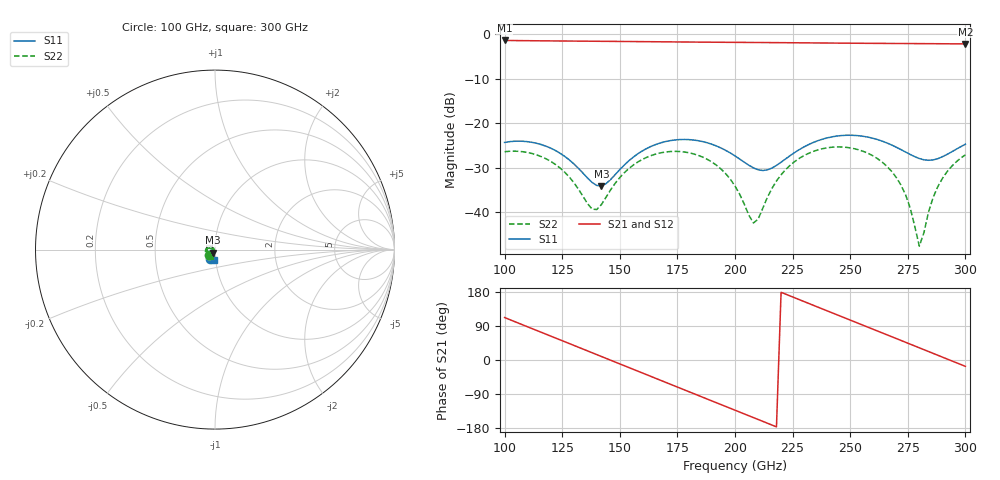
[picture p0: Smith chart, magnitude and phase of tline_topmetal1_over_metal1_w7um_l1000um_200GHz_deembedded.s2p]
! Created with skrf 2.0.1 (http://scikit-rf.org).
# GHz S DB R 50.0
!freq dBS11 angS11 dBS21 angS21 dBS12 angS12 dBS22 angS22
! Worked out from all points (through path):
!   101 points, 100 GHz to 300 GHz, reference 50 ohm
!   highest |S21| = -1.36 dB at 100 GHz (marker M1); lowest = -2.1 dB at 300 GHz (marker M2)
!   group delay of S21, straight-line fit = 6.79 ps
!   lowest |S11| = -34.1 dB at 142 GHz (marker M3), VSWR 1.04, Z = 48.9 - j1.58 ohm
!   |S11| at or under -10 dB: start of sweep to end of sweep
!   |S22| runs from -47.7 to -25.3 dB; largest |S21 - S12| = 9.8e-14
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100  -24.33 -116.5  -1.36 112.0  -1.36 112.0  -26.42 -138.7
116  -24.82 -145.9  -1.45 72.9  -1.45 72.9  -27.54 -174.0
126  -27.43 -159.1  -1.49 48.5  -1.49 48.5  -30.99 169.1
134  -31.23 -157.8  -1.52 28.9  -1.52 28.9  -36.45 171.9
138  -33.35 -146.1  -1.54 19.1  -1.54 19.1  -39.34 -165.1
142  -34.12 -124.8  -1.55 9.3  -1.55 9.3  -38.33 -132.1
154  -28.43 -95.6  -1.60 -20.1  -1.60 -20.1  -30.17 -120.9
168  -24.38 -110.2  -1.67 -54.3  -1.67 -54.3  -26.64 -147.1
184  -23.93 -134.0  -1.73 -93.4  -1.73 -93.4  -27.23 178.5
192  -25.14 -143.5  -1.76 -112.9  -1.76 -112.9  -29.48 162.8
200  -27.36 -147.1  -1.79 -132.5  -1.79 -132.5  -34.13 153.2
208  -30.06 -136.4  -1.82 -152.0  -1.82 -152.0  -42.45 -165.8
210  -30.48 -130.5  -1.82 -156.9  -1.82 -156.9  -41.65 -138.1
214  -30.51 -116.9  -1.84 -166.7  -1.84 -166.7  -36.77 -114.0
220  -28.78 -101.9  -1.86 178.6  -1.86 178.6  -31.61 -114.0
234  -24.33 -102.3  -1.92 144.4  -1.92 144.4  -26.35 -140.0
252  -22.74 -124.1  -1.99 100.5  -1.99 100.5  -25.76 179.1
268  -24.91 -138.6  -2.04 61.5  -2.04 61.5  -30.85 144.4
274  -26.48 -137.5  -2.06 46.8  -2.06 46.8  -36.08 136.7
280  -27.95 -129.1  -2.07 32.2  -2.07 32.2  -47.69 -173.0
288  -27.99 -109.6  -2.10 12.6  -2.10 12.6  -34.31 -104.8
300  -24.73 -98.1  -2.14 -16.7  -2.14 -16.7  -27.12 -127.4
